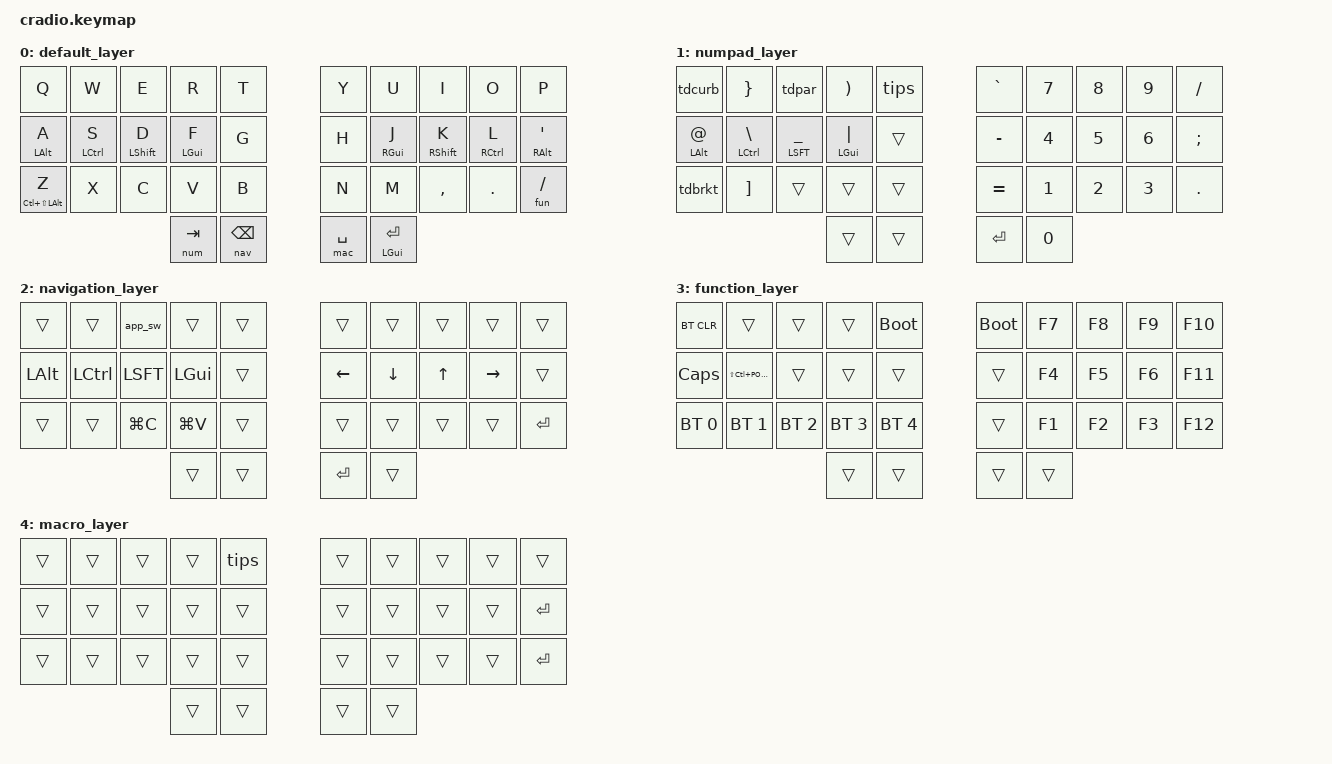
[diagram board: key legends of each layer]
/*
 * Copyright (c) 2020 The ZMK Contributors
 *
 * SPDX-License-Identifier: MIT
 */

#include <behaviors.dtsi>
#include <dt-bindings/zmk/keys.h>
#include <dt-bindings/zmk/bt.h>
    
    &mt {
        flavor = "tap-preferred";
        tapping_term_ms = <200>;
    };

    &lt {
        flavor = "tap-preferred";
        quick-tap-ms = <0>;
        tapping_term_ms = <175>;
    };

#define MEH LC(LS(LALT))
#define num 1
#define nav 2
#define fun 3
#define mac 4

/ {

    behaviors {
        hm: homerow_mods {
            compatible = "zmk,behavior-hold-tap";
            label = "HOMEROW_MODS";
            #binding-cells = <2>;
            tapping-term-ms = <150>;
            quick-tap-ms = <150>;
            flavor = "tap-preferred";
            bindings = <&kp>, <&kp>;
        };

        lhm: left_hand_homerow_mods {
            compatible = "zmk,behavior-hold-tap";
            label = "LEFT_HOMEROW_MODS";
            #binding-cells = <2>;
            tapping-term-ms = <150>;
            quick-tap-ms = <150>;
            flavor = "tap-preferred";
            bindings = <&kp>, <&kp>;
            hold-trigger-key-positions = <5 6 7 8 9 15 16 17 18 19 25 26 27 28 29>;
        };

        rhm: right_hand_homerow_mods {
            compatible = "zmk,behavior-hold-tap";
            label = "RIGHT_HOMEROW_MODS";
            #binding-cells = <2>;
            tapping-term-ms = <150>;
            quick-tap-ms = <150>;
            flavor = "tap-preferred";
            bindings = <&kp>, <&kp>;
            hold-trigger-key-positions = <0 1 2 3 4 10 11 12 13 14 20 21 22 23 24>;
        };

        ltt: layer_tap_tp {
            compatible = "zmk,behavior-hold-tap";
            label = "LAYER_TAPTP";
            #binding-cells = <2>;
            tapping-term-ms = <175>;
            quick-tap-ms = <200>;
            flavor = "tap-preferred";
            bindings = <&mo>, <&kp>;
        };

        lth: layer_tap_hp {
            compatible = "zmk,behavior-hold-tap";
            label = "LAYER_TAPHP";
            #binding-cells = <2>;
            tapping-term-ms = <175>;
            quick-tap-ms = <200>;
            flavor = "hold-preferred";
            bindings = <&mo>, <&kp>;
        };

        ltcw: layer_tap_capsword {
            compatible = "zmk,behavior-hold-tap";
            label = "LAYER_TAPCW";
            #binding-cells = <2>;
            tapping-term-ms = <200>;
            quick-tap-ms = <200>;
            flavor = "hold-preferred";
            bindings = <&mo>, <&caps_word>;
        };

        skq: sticky_key_quick_release {
            compatible = "zmk,behavior-sticky-key";
            label = "STICKY_KEY_QUICK_RELEASE";
            #binding-cells = <1>;
            bindings = <&kp>;
            release-after-ms = <1000>;
            quick-release;
        };

        skmt: sticky_key_mod_tap {
            compatible = "zmk,behavior-hold-tap";
            label = "STICKY_KEY_MOD_TAP";
            #binding-cells = <2>;
            tapping-term-ms = <225>;
            quick-tap-ms = <0>;
            flavor = "tap-preferred";
            bindings = <&kp>, <&skq>;
        };

        paren: paren {
            label = "Parenthesis";
            compatible = "zmk,behavior-macro";
            #binding-cells = <0>;
            wait-ms = <20>;
            tap-ms = <30>;
            bindings
                = <&macro_tap &kp LPAR &kp RPAR &kp LEFT>
                ;
        };

        curb: curb {
            label = "Curly Braces";
            compatible = "zmk,behavior-macro";
            #binding-cells = <0>;
            wait-ms = <20>;
            tap-ms = <30>;
            bindings
                = <&macro_tap &kp LBRC &kp RBRC &kp LEFT>
                ;
        };

        bracket: bracket {
            label = "Brackets";
            compatible = "zmk,behavior-macro";
            #binding-cells = <0>;
            wait-ms = <20>;
            tap-ms = <30>;
            bindings
                = <&macro_tap &kp LBKT &kp RBKT &kp LEFT>
                ;
        };

        tdpar: tap_dance_0 {
            compatible = "zmk,behavior-tap-dance";
            label = "TAP_DANCE_0";
            #binding-cells = <0>;
            tapping-term-ms = <200>;
            bindings = <&paren>, <&kp LPAR>;
        };

        tdcurb: tap_dance_1 {
            compatible = "zmk,behavior-tap-dance";
            label = "TAP_DANCE_1";
            #binding-cells = <0>;
            tapping-term-ms = <200>;
            bindings = <&curb>, <&kp LBRC>;
        };

        tdbrkt: tap_dance_2 {
            compatible = "zmk,behavior-tap-dance";
            label = "TAP_DANCE_2";
            #binding-cells = <0>;
            tapping-term-ms = <200>;
            bindings = <&bracket>, <&kp LBKT>;
        };
    };

        macros {
        tips: tips {
            label = "TIPS";
            compatible = "zmk,behavior-macro";
            #binding-cells = <0>;
            wait-ms = <20>;
            tap-ms = <30>;
            bindings
                = <&macro_tap &kp T &kp R &kp U &kp E &kp I &kp P &kp S &kp O &kp L &kp U &kp T &kp I &kp O &kp N &kp S &kp DOT &kp C &kp O &kp M>
                ;
          };

        pass: pass {
            label = "Pass";
            compatible = "zmk,behavior-macro";
            #binding-cells = <0>;
            wait-ms = <20>;
            tap-ms = <30>;
            bindings
                = <&macro_press &kp LSFT>
                , <&macro_tap &kp M> 
                , <&macro_release &kp LSFT>
                , <&macro_tap &kp AT &kp T &kp T &kp H &kp E &kp W &kp N6 &kp N7 &kp N8 &kp N6 &kp RET>
                ;
          };

        app_sw: app_sw {
            label = "App Switcher";
            compatible = "zmk,behavior-macro";
            #binding-cells = <0>;
            wait-ms = <20>;
            tap-ms = <30>;
            bindings
                = <&macro_press &kp LGUI>
                , <&macro_tap &kp TAB>
                , <&macro_pause_for_release>
                , <&macro_release &kp LGUI>
                ;
          };
        };

        combos {
        compatible = "zmk,combos";
          combo_esc {
              timeout-ms = <50>;
              key-positions = <0 1>;
              bindings = <&kp ESC>;
          };

          combo_enter {
              timeout-ms = <50>;
              key-positions = <28 29>;
              bindings = <&kp RET>;
          };

          combo_capsword {
              timeout-ms = <50>;
              key-positions = <12 17>;
              bindings = <&caps_word>;
          };

          combo_power {
              timeout-ms = <50>;
              key-positions = <0 1 31>;
              bindings = <&kp C_POWER>;
          };

          combo_pass {
              timeout-ms = <50>;
              key-positions = <8 9 32>;
              bindings = <&pass>;
          };
        };



        keymap {
                compatible = "zmk,keymap";
                
       		default_layer {
		bindings = <
		&kp Q       &kp W        &kp E        &kp R        &kp T 			                    &kp Y        &kp U        &kp I        &kp O        &kp P 
		&lhm LALT A &lhm LCTRL S &lhm LSHFT D &lhm LGUI F  &kp G                          &kp H        &rhm RGUI J  &rhm RSHFT K &rhm RCTRL L &rhm RALT QUOT
		&lhm MEH Z  &kp X        &kp C        &kp V        &kp B			                    &kp N        &kp M        &kp CMMA     &kp DOT      &lth fun SLASH
          				                        &lth num TAB &lth nav BSPC                  &ltt mac SPACE &hm LGUI RET
		>;
		};

       		numpad_layer {
		bindings = <
		&tdcurb      &kp RBRC           &tdpar          &kp RPAR       &tips 			     &kp GRAVE     &kp N7  &kp N8 &kp N9 &kp SLASH
		&lhm LALT AT &lhm LCTRL BSLH    &lhm LSFT UNDER &lhm LGUI PIPE &trans          &kp MINUS     &kp N4  &kp N5 &kp N6 &kp SEMICOLON
		&tdbrkt      &kp RBKT           &trans          &trans         &trans			     &kp EQUAL     &kp N1  &kp N2 &kp N3 &kp DOT
          				                                  &trans         &trans          &kp RET       &kp N0 
		>;
		};
		
		    navigation_layer {
		bindings = <
		&trans   &trans    &app_sw    &trans    &trans              &trans   &trans   &trans &trans    &trans 
		&kp LALT &kp LCTRL &kp LSFT   &kp LGUI  &trans              &kp LEFT &kp DOWN &kp UP &kp RIGHT &trans
		&trans   &trans    &kp LG(C)  &kp LG(V) &trans  		        &trans   &trans   &trans &trans    &kp RET
					                        &trans    &trans          		&kp RET  &trans 
		>;
		};
		
		    function_layer {
		bindings = <
		&bt BT_CLR   &trans              &trans       &trans       &bootloader        &bootloader &kp F7 &kp F8 &kp F9 &kp F10 
		&kp CAPS     &kp LS(LC(K_POWER)) &trans       &trans       &trans             &trans      &kp F4 &kp F5 &kp F6 &kp F11
		&bt BT_SEL 0 &bt BT_SEL 1        &bt BT_SEL 2 &bt BT_SEL 3 &bt BT_SEL 4       &trans      &kp F1 &kp F2 &kp F3 &kp F12
					                                  &trans       &trans             &trans      &trans 
		>;
		};
        
		    macro_layer {
		bindings = <
		&trans   &trans   &trans   &trans   &tips    			              &trans   &trans   &trans &trans    &trans 
		&trans   &trans   &trans   &trans   &trans                      &trans   &trans   &trans &trans    &kp RET
		&trans   &trans   &trans   &trans   &trans                      &trans   &trans   &trans &trans    &kp RET
					                  &trans   &trans                      		&trans &trans 
		>;
		};
		
	};
};
